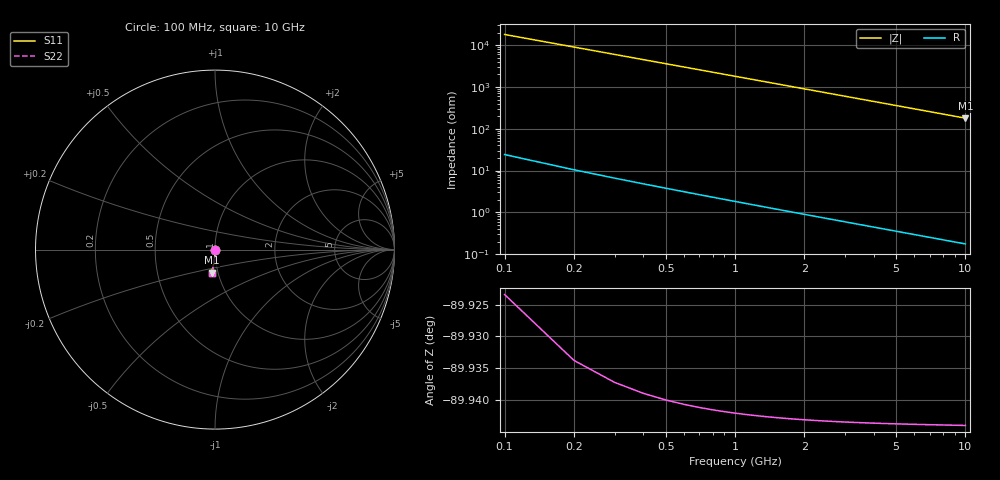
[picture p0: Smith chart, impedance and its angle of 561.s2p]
# Hz S RI R 50.00
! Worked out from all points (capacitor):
!   100 points, 100 MHz to 10 GHz, reference 50 ohm
!   read as one part in shunt: C = 88.3 fF near 100 MHz
!   lowest |Z| = 179 ohm at 10 GHz (marker M1)
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1e8  2.74e-05 -0.0013  1 -0.00148  1 -0.00148  2.74e-05 -0.0013
2e8  2.05e-05 -0.0026  1 -0.00295  1 -0.00295  2.05e-05 -0.0026
3e8  9.7e-06 -0.00389  0.9999 -0.00443  0.9999 -0.00443  9.7e-06 -0.00389
4e8  -4.93e-06 -0.00519  0.9999 -0.0059  0.9999 -0.0059  -4.93e-06 -0.00519
5e8  -2.34e-05 -0.00649  0.9999 -0.00738  0.9999 -0.00738  -2.34e-05 -0.00649
6e8  -4.57e-05 -0.00779  0.9999 -0.00885  0.9999 -0.00885  -4.57e-05 -0.00779
7e8  -7.19e-05 -0.00908  0.9999 -0.0103  0.9999 -0.0103  -7.19e-05 -0.00908
8e8  -0.000102 -0.0104  0.9998 -0.0118  0.9998 -0.0118  -0.000102 -0.0104
9e8  -0.000136 -0.0117  0.9998 -0.0133  0.9998 -0.0133  -0.000136 -0.0117
1.1e9  -0.000215 -0.0143  0.9997 -0.0162  0.9997 -0.0162  -0.000215 -0.0143
1.4e9  -0.000363 -0.0182  0.9996 -0.0207  0.9996 -0.0207  -0.000363 -0.0182
1.8e9  -0.000613 -0.0234  0.9993 -0.0266  0.9993 -0.0266  -0.000613 -0.0234
2.1e9  -0.000841 -0.0273  0.9991 -0.031  0.9991 -0.031  -0.000841 -0.0273
2.5e9  -0.0012 -0.0324  0.9987 -0.0369  0.9987 -0.0369  -0.0012 -0.0324
2.9e9  -0.00162 -0.0376  0.9983 -0.0428  0.9983 -0.0428  -0.00162 -0.0376
3.4e9  -0.00223 -0.0441  0.9977 -0.0502  0.9977 -0.0502  -0.00223 -0.0441
4.2e9  -0.00341 -0.0544  0.9965 -0.0619  0.9965 -0.0619  -0.00341 -0.0544
5.1e9  -0.00502 -0.066  0.9949 -0.0752  0.9949 -0.0752  -0.00502 -0.066
5.9e9  -0.00672 -0.0763  0.9932 -0.0869  0.9932 -0.0869  -0.00672 -0.0763
6.7e9  -0.00866 -0.0865  0.9912 -0.0985  0.9912 -0.0985  -0.00866 -0.0865
8.4e9  -0.0136 -0.1081  0.9862 -0.1232  0.9862 -0.1232  -0.0136 -0.1081
1e10  -0.0192 -0.1281  0.9806 -0.1461  0.9806 -0.1461  -0.0192 -0.1281
